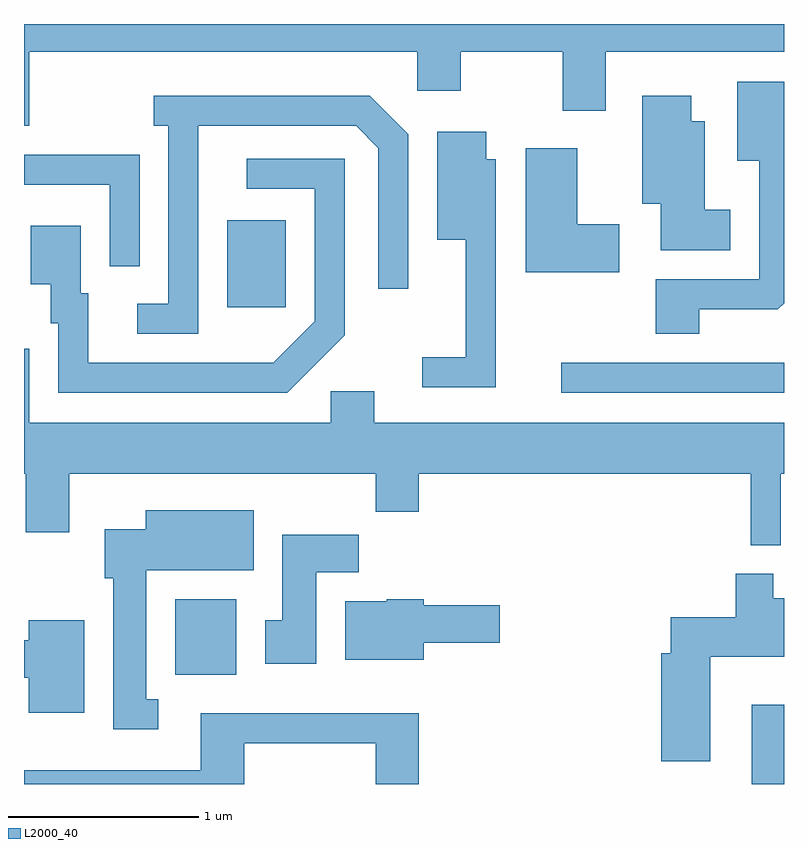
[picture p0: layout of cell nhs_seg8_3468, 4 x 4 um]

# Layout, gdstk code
import gdstk
lib = gdstk.Library(unit=1e-6, precision=1e-09)
def R(c, l, rs):  # rectangles x0, y0, x1, y1
    for r in rs: c.add(gdstk.rectangle(r[:2], r[2:], *l))
def P(c, l, *ps):  # polygons
    for p in ps: c.add(gdstk.Polygon(p, *l))
L2000_40 = (2000, 40)

nhs_seg8_3468 = lib.new_cell('nhs_seg8_3468')
R(nhs_seg8_3468, L2000_40, [(293.441,1830.342,293.611,1830.759), (290.406,1830.916,290.729,1831.314), (292.438,1832.401,293.611,1832.559), (290.681,1832.851,290.989,1833.309)])
P(nhs_seg8_3468, L2000_40, [(289.639,1834.196),(291.681,1834.196),(291.681,1833.991),(291.909,1833.991),(291.909,1834.196),(292.446,1834.196),(292.446,1833.886),(292.674,1833.886),(292.674,1834.196),(293.611,1834.196),(293.611,1834.342),(289.611,1834.342),(289.611,1833.806),(289.639,1833.806)],
  [(293.164,1832.841),(293.579,1832.841),(293.611,1832.873),(293.611,1834.039),(293.366,1834.039),(293.366,1833.621),(293.481,1833.621),(293.481,1832.999),(292.936,1832.999),(292.936,1832.711),(293.164,1832.711)],
  [(290.529,1833.806),(291.359,1833.806),(291.476,1833.689),(291.476,1832.948),(291.634,1832.948),(291.634,1833.762),(291.432,1833.964),(290.293,1833.964),(290.293,1833.806),(290.371,1833.806),(290.371,1832.869),(290.208,1832.869),(290.208,1832.711),(290.529,1832.711)],
  [(293.329,1833.364),(293.194,1833.364),(293.194,1833.829),(293.124,1833.829),(293.124,1833.964),(292.866,1833.964),(292.866,1833.396),(292.961,1833.396),(292.961,1833.151),(293.329,1833.151)],
  [(292.094,1833.629),(292.044,1833.629),(292.044,1833.774),(291.786,1833.774),(291.786,1833.206),(291.936,1833.206),(291.936,1832.589),(291.708,1832.589),(291.708,1832.431),(292.094,1832.431)],
  [(292.744,1833.289),(292.524,1833.289),(292.524,1833.689),(292.251,1833.689),(292.251,1833.036),(292.744,1833.036)],
  [(290.219,1833.654),(289.611,1833.654),(289.611,1833.496),(290.061,1833.496),(290.061,1833.068),(290.219,1833.068)],
  [(291.299,1832.704),(291.299,1833.634),(290.783,1833.634),(290.783,1833.476),(291.141,1833.476),(291.141,1832.777),(290.924,1832.559),(289.949,1832.559),(289.949,1832.924),(289.909,1832.924),(289.909,1833.279),(289.646,1833.279),(289.646,1832.971),(289.751,1832.971),(289.751,1832.766),(289.791,1832.766),(289.791,1832.401),(290.997,1832.401)],
  [(293.594,1831.976),(293.611,1831.976),(293.611,1832.244),(291.454,1832.244),(291.454,1832.409),(291.226,1832.409),(291.226,1832.244),(289.639,1832.244),(289.639,1832.634),(289.611,1832.634),(289.611,1831.976),(289.621,1831.976),(289.621,1831.666),(289.849,1831.666),(289.849,1831.976),(291.461,1831.976),(291.461,1831.776),(291.689,1831.776),(291.689,1831.976),(293.436,1831.976),(293.436,1831.598),(293.594,1831.598)],
  [(290.318,1830.789),(290.254,1830.789),(290.254,1831.466),(290.819,1831.466),(290.819,1831.784),(290.251,1831.784),(290.251,1831.684),(290.036,1831.684),(290.036,1831.426),(290.081,1831.426),(290.081,1830.631),(290.318,1830.631)],
  [(291.149,1831.456),(291.374,1831.456),(291.374,1831.654),(290.971,1831.654),(290.971,1831.204),(290.881,1831.204),(290.881,1830.976),(291.149,1830.976)],
  [(293.224,1831.011),(293.611,1831.011),(293.611,1831.319),(293.554,1831.319),(293.554,1831.449),(293.356,1831.449),(293.356,1831.219),(293.016,1831.219),(293.016,1831.029),(292.966,1831.029),(292.966,1830.461),(293.224,1830.461)],
  [(291.714,1831.086),(292.114,1831.086),(292.114,1831.284),(291.714,1831.284),(291.714,1831.314),(291.52,1831.314),(291.52,1831.304),(291.301,1831.304),(291.301,1830.996),(291.714,1830.996)],
  [(289.929,1831.204),(289.636,1831.204),(289.636,1831.099),(289.611,1831.099),(289.611,1830.901),(289.636,1830.901),(289.636,1830.716),(289.929,1830.716)],
  [(290.769,1830.556),(291.461,1830.556),(291.461,1830.342),(291.689,1830.342),(291.689,1830.714),(290.541,1830.714),(290.541,1830.414),(289.613,1830.414),(289.613,1830.342),(290.769,1830.342)])

lib.write_gds('nhs_seg8_3468.gds')
